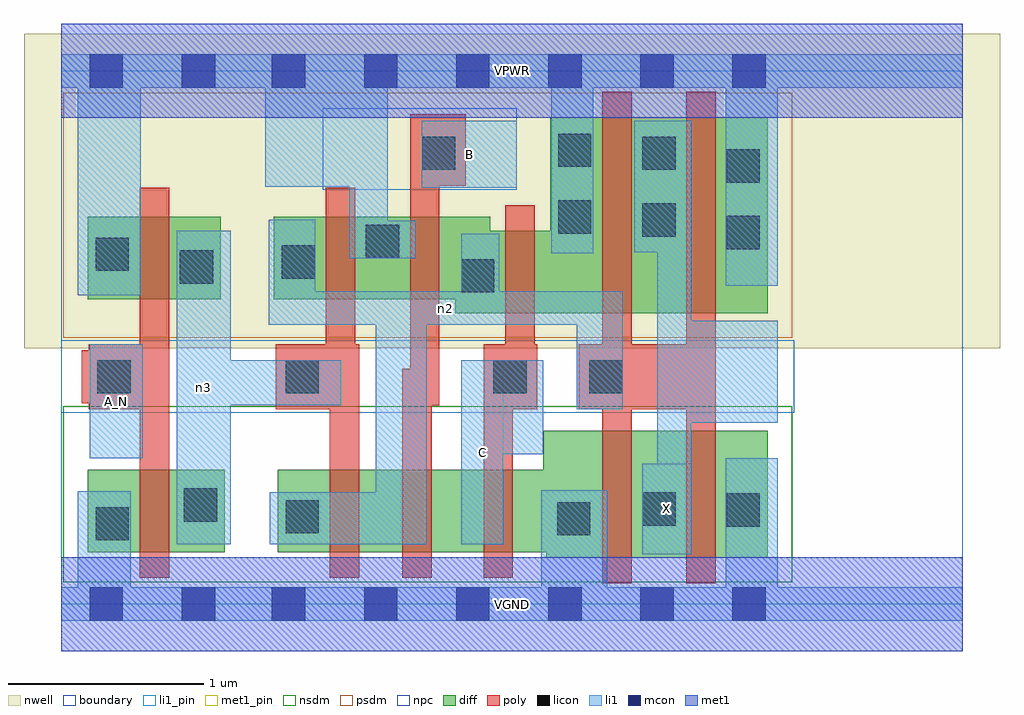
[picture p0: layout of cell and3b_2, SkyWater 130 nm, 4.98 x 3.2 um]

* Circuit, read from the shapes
.subckt and3b_2 A_N B C VGND VPWR X n2 n3
XM1 n3 A_N VGND VSUBS sky130_fd_pr__nfet_01v8 w=0.42 l=0.15
XM2 n1 n3 n2 VSUBS sky130_fd_pr__nfet_01v8 w=0.42 l=0.15
XM3 n4 B n1 VSUBS sky130_fd_pr__nfet_01v8 w=0.42 l=0.15
XM4 VGND C n4 VSUBS sky130_fd_pr__nfet_01v8 w=0.42 l=0.15
XM5 X n2 VGND VSUBS sky130_fd_pr__nfet_01v8 w=0.65 l=0.15 m=2
XM6 n3 A_N VPWR n5 sky130_fd_pr__pfet_01v8 w=0.42 l=0.15
XM7 VPWR n3 n2 n5 sky130_fd_pr__pfet_01v8 w=0.42 l=0.15
XM8 n2 B VPWR n5 sky130_fd_pr__pfet_01v8 w=0.42 l=0.15
XM9 VPWR C n2 n5 sky130_fd_pr__pfet_01v8 w=0.42 l=0.15
XM10 X n2 VPWR n5 sky130_fd_pr__pfet_01v8 w=1 l=0.15 m=2
.ends

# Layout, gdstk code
import gdstk
lib = gdstk.Library(unit=1e-6, precision=1e-09)
def R(c, l, rs):  # rectangles x0, y0, x1, y1
    for r in rs: c.add(gdstk.rectangle(r[:2], r[2:], *l))
def A(c, l, x, y, w, h, nx, ny, dx, dy):  # array of equal rectangles
    R(c, l, [(x+i*dx, y+j*dy, x+i*dx+w, y+j*dy+h) for i in range(nx) for j in range(ny)])
nwell = (64, 20)
diff = (65, 20)
poly = (66, 20)
licon = (66, 44)
li1_pin = (67, 16)
li1 = (67, 20)
mcon = (67, 44)
met1_pin = (68, 16)
met1 = (68, 20)
nsdm = (93, 44)
psdm = (94, 20)
npc = (95, 20)
boundary = (235, 4)

and3b_2 = lib.new_cell('and3b_2')
R(and3b_2, nwell, [(-0.19,1.305,4.79,2.91), (0,1.305,4.6,2.91)])
R(and3b_2, diff, [(2.475,0.235,3.605,0.885), (0.135,0.265,0.835,0.685), (1.105,0.265,3.605,0.685), (2.46,0.265,3.605,0.885), (2.01,1.485,3.605,1.905), (2.495,1.485,3.605,2.485), (0.135,1.555,0.815,1.975), (1.085,1.555,2.19,1.975)])
R(and3b_2, poly, [(2.76,0.105,2.91,2.615), (3.19,0.105,3.34,2.615), (0.4,0.135,0.55,2.125), (1.37,0.135,1.52,1.325), (1.74,0.135,1.89,1.2), (2.155,0.135,2.305,1.325), (0.14,0.995,0.55,1.325), (1.095,0.995,1.52,1.325), (1.35,0.995,1.5,2.125), (2.155,0.995,2.43,1.325), (2.265,0.995,2.415,2.035), (2.64,0.995,3.34,1.325), (1.78,1.015,1.93,2.5), (0.105,1.025,0.55,1.295), (1.78,2.135,2.065,2.5)])
R(and3b_2, licon, [(0.175,0.325,0.345,0.495), (2.53,0.35,2.7,0.52), (1.145,0.36,1.315,0.53), (3.395,0.395,3.565,0.565), (2.965,0.4,3.135,0.57), (0.625,0.42,0.795,0.59), (0.185,1.075,0.355,1.245), (1.145,1.075,1.315,1.245), (2.205,1.075,2.375,1.245), (2.695,1.075,2.865,1.245), (2.04,1.59,2.21,1.76), (0.605,1.635,0.775,1.805), (1.125,1.66,1.295,1.83), (0.175,1.7,0.345,1.87), (1.555,1.765,1.725,1.935), (3.395,1.81,3.565,1.98), (2.965,1.875,3.135,2.045), (2.535,1.89,2.705,2.06), (3.395,2.15,3.565,2.32), (1.84,2.215,2.01,2.385), (2.965,2.215,3.135,2.385), (2.535,2.23,2.705,2.4)])
R(and3b_2, li1_pin, [(2.965,0.255,3.215,0.715), (2.04,0.305,2.255,1.245), (0.145,0.745,0.415,1.325), (1.84,2.125,2.325,2.465)])
R(and3b_2, li1, [(0,-0.085,4.6,0.085), (0.085,-0.085,0.355,0.575), (2.45,-0.085,2.785,0.58), (3.39,-0.085,3.655,0.745), (2.965,0.255,3.215,0.715), (3.04,0.255,3.215,2.465), (0.59,0.305,0.865,1.905), (1.065,0.305,1.865,0.57), (1.605,0.305,1.865,1.595), (2.04,0.305,2.255,1.245), (0.145,0.745,0.415,1.325), (2.04,0.765,2.46,1.245), (3.04,0.925,3.655,1.445), (2.63,0.995,2.865,1.595), (0.59,1.015,1.43,1.245), (1.06,1.425,2.865,1.595), (1.06,1.425,1.295,1.96), (2.04,1.425,2.235,1.89), (0.085,1.575,0.405,2.805), (3.39,1.625,3.655,2.805), (1.47,1.765,1.665,2.805), (1.47,1.765,1.81,1.955), (2.5,1.79,2.715,2.805), (2.925,1.795,3.215,2.465), (1.84,2.125,2.325,2.465), (1.04,2.13,1.665,2.805), (0,2.635,4.6,2.805)])
A(and3b_2, mcon, 1.075, -0.085, 0.17, 0.17, 6, 2, 0.47, 2.72)
R(and3b_2, mcon, [(0.145,-0.085,0.315,0.085), (0.615,-0.085,0.785,0.085), (0.145,2.635,0.315,2.805), (0.615,2.635,0.785,2.805)])
R(and3b_2, met1_pin, [(0,-0.24,4.6,0.24), (0,2.48,4.6,2.96)])
R(and3b_2, met1, [(0,-0.24,4.6,0.24), (0,2.48,4.6,2.96)])
R(and3b_2, nsdm, [(0.01,0.11,3.73,1.01)])
R(and3b_2, psdm, [(0.01,1.36,3.73,2.61)])
R(and3b_2, npc, [(0,0.975,3.74,1.345), (1.335,2.115,2.325,2.53)])
R(and3b_2, boundary, [(0,0,4.6,2.72)])
and3b_2.add(gdstk.Label('A_N', (0.28,1.035), layer=67, texttype=5))
and3b_2.add(gdstk.Label('B', (2.082,2.295), layer=67, texttype=5))
and3b_2.add(gdstk.Label('C', (2.147,0.775), layer=67, texttype=5))
and3b_2.add(gdstk.Label('X', (3.09,0.485), layer=67, texttype=5))
and3b_2.add(gdstk.Label('n3', (0.727,1.105), layer=67, texttype=5))
and3b_2.add(gdstk.Label('n2', (1.962,1.51), layer=67, texttype=5))
and3b_2.add(gdstk.Label('VPWR', (2.3,2.72), layer=68, texttype=5))
and3b_2.add(gdstk.Label('VGND', (2.3,0), layer=68, texttype=5))
and3b_2.add(gdstk.Label('A_N', (0.28,1.035), layer=67, texttype=16))
and3b_2.add(gdstk.Label('B', (2.082,2.295), layer=67, texttype=16))
and3b_2.add(gdstk.Label('C', (2.147,0.775), layer=67, texttype=16))
and3b_2.add(gdstk.Label('X', (3.09,0.485), layer=67, texttype=16))
and3b_2.add(gdstk.Label('VPWR', (2.3,2.72), layer=68, texttype=16))
and3b_2.add(gdstk.Label('VGND', (2.3,0), layer=68, texttype=16))

lib.write_gds('and3b_2.gds')
